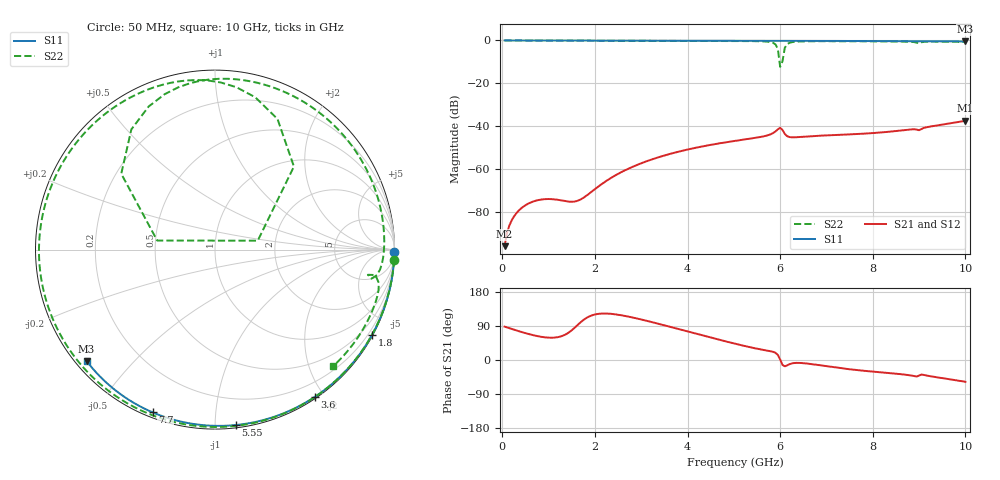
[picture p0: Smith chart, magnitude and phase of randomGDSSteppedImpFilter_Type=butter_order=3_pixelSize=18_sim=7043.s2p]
! freq	dB(S11)	phase(S11)	dB(S12)	phase(S12)
!  dB(S21)	phase(S21)	dB(S22)	phase(S22)
!S-par simulation data
#  GHz  S  DB  R 50
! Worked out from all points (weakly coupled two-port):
!   200 points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, 50 MHz to 10 GHz, reference 50 ohm
!   highest |S21| = -37.38 dB at 10 GHz (marker M1); lowest = -95.7 dB at 50 MHz (marker M2)
!   lowest |S11| = -0.5 dB at 10 GHz (marker M3), VSWR 36.82, Z = 1.55 - j18.6 ohm
!   |S11| at or under -10 dB: nowhere
!   |S22| runs from -12.3 to 0.0 dB; largest |S21 - S12| = 0
!   S11 on the Smith chart (normalised r, x): 50 MHz: open; 1.8 GHz: 0.03, -3.92; 3.6 GHz: 0.02, -1.89; 5.55 GHz: 0.02, -1.13; 7.7 GHz: 0.02, -0.69; 10 GHz: 0.03, -0.37
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0.05  -0.00 -0.8  -95.70 88.0  -95.70 88.0  -0.00 -3.3
0.95  -0.02 -15.2  -73.78 59.5  -73.78 59.5  -0.07 -59.5
1.75  -0.04 -27.8  -73.22 105.4  -73.22 105.4  -0.11 -102.8
1.8  -0.04 -28.6  -72.48 109.7  -72.48 109.7  -0.11 -105.2
2.6  -0.05 -40.9  -60.94 117.4  -60.94 117.4  -0.14 -141.3
3.4  -0.07 -52.9  -54.16 94.7  -54.16 94.7  -0.16 -173.0
3.6  -0.08 -55.8  -52.90 88.3  -52.90 88.3  -0.17 179.5
4.3  -0.09 -65.9  -49.38 65.7  -49.38 65.7  -0.20 153.7
5.05  -0.12 -76.4  -46.64 42.3  -46.64 42.3  -0.25 125.2
5.55  -0.14 -83.2  -45.01 28.6  -45.01 28.6  -0.36 102.4
5.85  -0.15 -87.2  -43.06 21.4  -43.06 21.4  -1.13 75.2
5.95  -0.15 -88.6  -41.34 13.4  -41.34 13.4  -3.90 46.5
6  -0.16 -89.2  -40.66 1.3  -40.66 1.3  -12.28 11.8
6.05  -0.16 -89.9  -41.62 -12.9  -41.62 -12.9  -9.73 171.1
6.1  -0.16 -90.5  -43.43 -16.7  -43.43 -16.7  -3.45 141.0
6.15  -0.16 -91.2  -44.51 -14.1  -44.51 -14.1  -1.77 124.8
6.25  -0.17 -92.5  -45.07 -9.2  -45.07 -9.2  -0.82 107.9
6.7  -0.19 -98.4  -44.50 -11.2  -44.50 -11.2  -0.37 78.3
7.7  -0.25 -111.0  -43.49 -27.1  -43.49 -27.1  -0.38 37.2
8.35  -0.31 -119.0  -42.47 -34.4  -42.47 -34.4  -0.45 12.4
9.2  -0.38 -129.4  -40.21 -41.9  -40.21 -41.9  -0.53 -16.2
10  -0.47 -139.1  -37.38 -57.5  -37.38 -57.5  -0.68 -44.5
